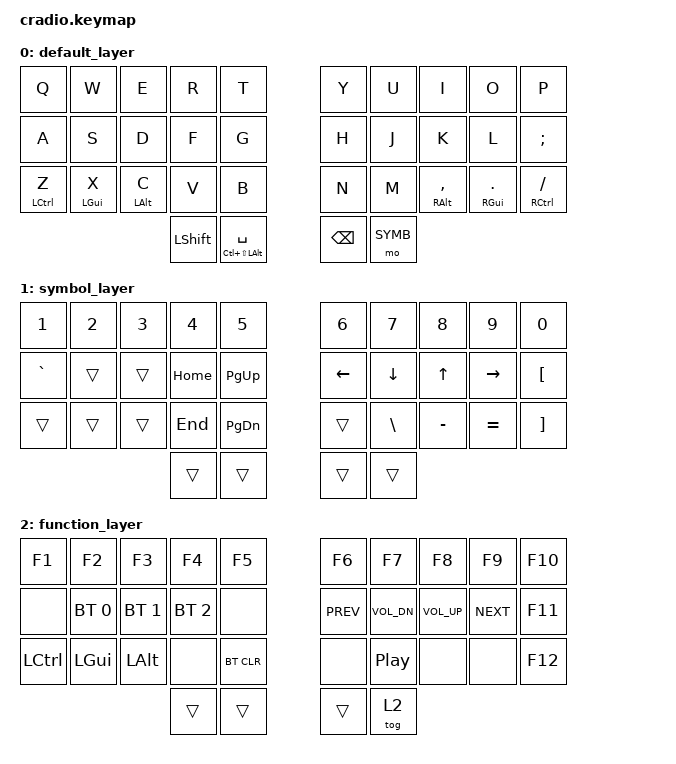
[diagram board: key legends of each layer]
/*
 * Copyright (c) 2020 The ZMK Contributors
 *
 * SPDX-License-Identifier: MIT
 */

#include <behaviors.dtsi>
#include <dt-bindings/zmk/keys.h>
#include <dt-bindings/zmk/bt.h>

#define DEFAULT 0
#define SYMB    1
#define FUNC    2

&mt {
    tapping-term-ms = <201>;
    flavor = "tap-preferred";
};

/ {
    behaviors {
        brm: bottom_row_mods {
            compatible = "zmk,behavior-hold-tap";
            label = "BOTTOM_ROW_MODS";
            #binding-cells = <2>;
            tapping-term-ms = <200>;
            quick-tap-ms = <150>;
            flavor = "balanced";
            bindings =
                <&kp>,
                <&kp>;
        };
    };

    combos {
        compatible = "zmk,combos";

        combo_tab {
            timeout-ms = <50>;
            key-positions = <0 10>;
            bindings = <&kp TAB>;
        };

        combo_esc {
            timeout-ms = <50>;
            key-positions = <10 20>;
            bindings = <&kp ESC>;
        };

        combo_quote {
            timeout-ms = <50>;
            key-positions = <9 19>;
            bindings = <&kp SQT>;
        };

        combo_enter {
            timeout-ms = <50>;
            key-positions = <19 29>;
            bindings = <&kp ENTER>;
        };

        combo_func_layer {
            timeout-ms = <50>;
            key-positions = <32 33>;
            bindings = <&mo FUNC>;
        };
    };

    keymap {
        compatible = "zmk,keymap";

        default_layer {
            bindings = <
        &kp Q        &kp W        &kp E           &kp R                   &kp T          &kp Y     &kp U            &kp I          &kp O            &kp P
        &kp A        &kp S        &kp D           &kp F                   &kp G          &kp H     &kp J            &kp K          &kp L         &kp SEMI
 &brm LCTRL Z  &brm LGUI X  &brm LALT C           &kp V                   &kp B          &kp N     &kp M  &brm RALT COMMA  &brm RGUI DOT  &brm RCTRL FSLH
                                         &kp LEFT_SHIFT  &mt LC(LS(LALT)) SPACE  &kp BACKSPACE  &mo SYMB
            >;
        };

        symbol_layer {
            bindings = <
    &kp N1  &kp N2  &kp N3    &kp N4     &kp N5    &kp N6    &kp N7     &kp N8     &kp N9    &kp N0
 &kp GRAVE  &trans  &trans  &kp HOME  &kp PG_UP  &kp LEFT  &kp DOWN     &kp UP  &kp RIGHT  &kp LBKT
    &trans  &trans  &trans   &kp END  &kp PG_DN    &trans  &kp BSLH  &kp MINUS  &kp EQUAL  &kp RBKT
                              &trans     &trans    &trans    &trans
            >;
        };

        function_layer {
            bindings = <
    &kp F1        &kp F2        &kp F3        &kp F4      &kp F5      &kp F6        &kp F7        &kp F8      &kp F9  &kp F10
     &none  &bt BT_SEL 0  &bt BT_SEL 1  &bt BT_SEL 2       &none  &kp C_PREV  &kp C_VOL_DN  &kp C_VOL_UP  &kp C_NEXT  &kp F11
 &kp LCTRL      &kp LGUI      &kp LALT         &none  &bt BT_CLR       &none      &kp C_PP         &none       &none  &kp F12
                                              &trans      &trans      &trans        &tog 2
            >;
        };
    };
};
